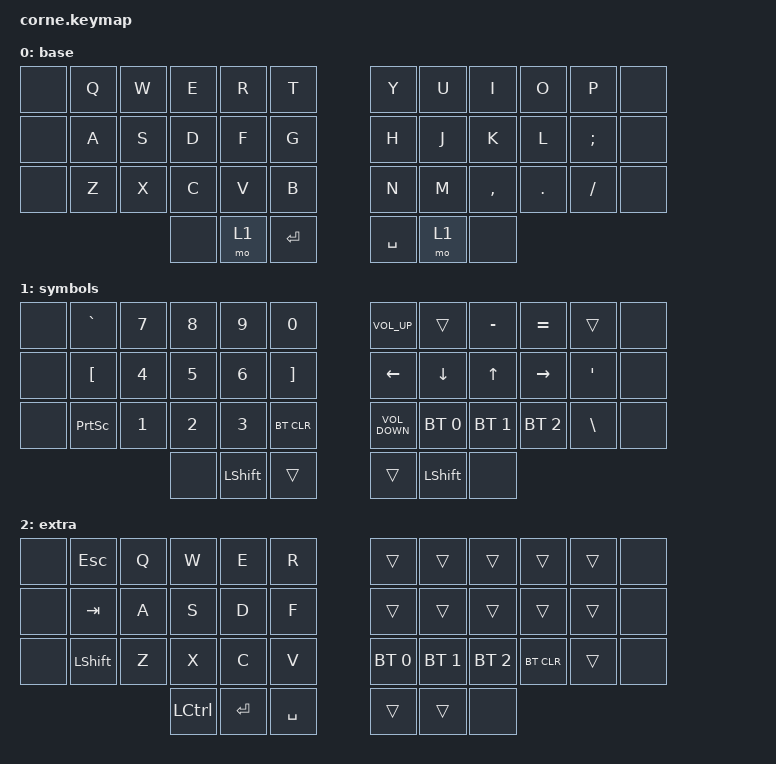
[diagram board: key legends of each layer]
/*
 * Copyright (c) 2020 The ZMK Contributors
 *
 * SPDX-License-Identifier: MIT
 */

#include <behaviors.dtsi>
#include <dt-bindings/zmk/bt.h>
#include <dt-bindings/zmk/keys.h>

&mt {
    tapping-term-ms = <200>;
    quick-tap-ms = <175>;
    require-prior-idle-ms = <150>;
    flavor = "tap-preferred";
};

&lt { tapping-term-ms = <400>; };

&soft_off { hold-time-ms = <2000>; };

/ {
    behaviors {
        td_esc_semicolon: td_esc_semicolon {
            compatible = "zmk,behavior-tap-dance";
            label = "TD_ESC_SEMICOLON";
            #binding-cells = <0>;
            bindings = <&kp SEMICOLON>, <&kp ESC>;
        };
    };

    combos {
        compatible = "zmk,combos";
        timeout-ms = <200>;

        toggle_layer2 {
            bindings = <&tog 2>;
            key-positions = <30 31 32 33>;
        };

        dfjk_caps_lock {
            bindings = <&kp CAPS>;
            key-positions = <16 15 19 20>;
        };

        we_esc {
            bindings = <&kp ESCAPE>;
            key-positions = <3 2>;
        };

        sd_gui {
            bindings = <&kp LEFT_GUI>;
            key-positions = <14 15>;
        };

        df_sft {
            bindings = <&kp LEFT_SHIFT>;
            key-positions = <15 16>;
        };

        sf_ctl {
            bindings = <&kp LCTRL>;
            key-positions = <14 16>;
        };

        sdf_sftgui {
            bindings = <&kp LG(LEFT_SHIFT)>;
            key-positions = <14 15 16>;
        };

        sdv_sftctl {
            bindings = <&kp LC(LEFT_SHIFT)>;
            key-positions = <14 15 28>;
        };

        xc_tab {
            bindings = <&kp TAB>;
            key-positions = <26 27>;
        };

        io_bspc {
            bindings = <&kp BACKSPACE>;
            key-positions = <9 8>;
        };

        ioj_del {
            bindings = <&kp DELETE>;
            key-positions = <8 9 19>;
        };

        kl_gui {
            bindings = <&kp LEFT_GUI>;
            key-positions = <21 20>;
        };

        jk_sft {
            bindings = <&kp LEFT_SHIFT>;
            key-positions = <19 20>;
        };

        jl_ctl {
            bindings = <&kp LCTRL>;
            key-positions = <19 21>;
        };

        jkl_sftgui {
            bindings = <&kp LG(LEFT_SHIFT)>;
            key-positions = <19 20 21>;
        };

        mkl_sftctl {
            bindings = <&kp LC(LEFT_SHIFT)>;
            key-positions = <31 20 21>;
        };

        qwer_off {
            bindings = <&soft_off>;
            key-positions = <1 3 2 4>;
        };
    };

    conditional_layers { compatible = "zmk,conditional-layers"; };

    keymap {
        compatible = "zmk,keymap";

        // Base Layer (0)

        base {
            bindings = <
&none  &kp Q  &kp W  &kp E  &kp R  &kp T        &kp Y      &kp U  &kp I      &kp O       &kp P          &none
&none  &kp A  &kp S  &kp D  &kp F  &kp G        &kp H      &kp J  &kp K      &kp L       &kp SEMICOLON  &none
&none  &kp Z  &kp X  &kp C  &kp V  &kp B        &kp N      &kp M  &kp COMMA  &kp PERIOD  &kp SLASH      &none
                     &none  &mo 1  &kp ENTER    &kp SPACE  &mo 1  &none
            >;
        };

        // Symbols Layer (1)

        symbols {
            bindings = <
&none  &kp GRAVE        &kp N7        &kp N8        &kp N9          &kp N0        &kp C_VOLUME_UP    &trans        &kp MINUS     &kp EQUAL     &trans            &none
&none  &kp LBKT         &kp NUMBER_4  &kp N5        &kp NUMBER_6    &kp RBKT      &kp LEFT           &kp DOWN      &kp UP        &kp RIGHT     &kp SINGLE_QUOTE  &none
&none  &kp PRINTSCREEN  &kp NUMBER_1  &kp NUMBER_2  &kp NUMBER_3    &bt BT_CLR    &kp C_VOLUME_DOWN  &bt BT_SEL 0  &bt BT_SEL 1  &bt BT_SEL 2  &kp BSLH          &none
                                      &none         &kp LEFT_SHIFT  &trans        &trans    &kp LEFT_SHIFT         &none
            >;
        };

        // Numbers/Nav Layer (2)
        // Extra Layer (3)

        extra {
            bindings = <
&none  &kp ESC         &kp Q  &kp W      &kp E      &kp R        &trans        &trans        &trans        &trans      &trans  &none
&none  &kp TAB         &kp A  &kp S      &kp D      &kp F        &trans        &trans        &trans        &trans      &trans  &none
&none  &kp LEFT_SHIFT  &kp Z  &kp X      &kp C      &kp V        &bt BT_SEL 0  &bt BT_SEL 1  &bt BT_SEL 2  &bt BT_CLR  &trans  &none
                              &kp LCTRL  &kp ENTER  &kp SPACE    &trans        &trans        &none
            >;
        };
    };
};
